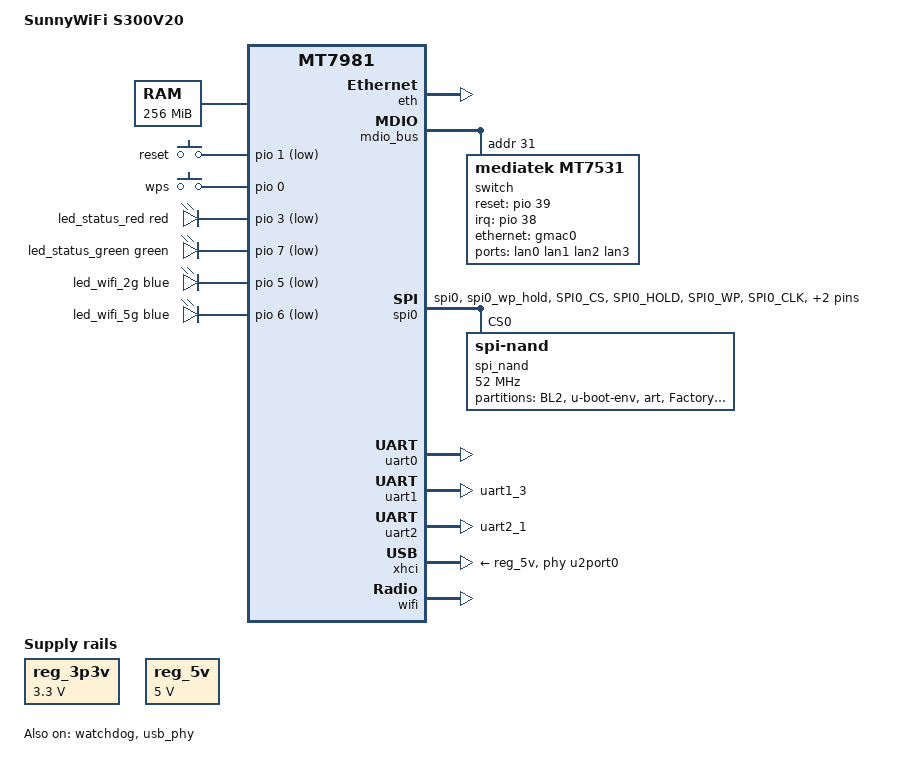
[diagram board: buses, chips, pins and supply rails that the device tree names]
// SPDX-License-Identifier: GPL-2.0-or-later OR MIT

/dts-v1/;
#include <dt-bindings/gpio/gpio.h>
#include <dt-bindings/input/input.h>
#include <dt-bindings/leds/common.h>

#include "mt7981.dtsi"

/ {
	model = "SunnyWiFi S300V20";
	compatible = "sunnywifi,s300v20", "mediatek,mt7981";

	aliases {
		serial0 = &uart0;
		label-mac-device = &gmac0;
		led-boot = &led_status_red;
		led-failsafe = &led_status_red;
		led-running = &led_status_green;
		led-upgrade = &led_status_green;
	};

	chosen {
		stdout-path = "serial0:115200n8";
	};

	memory {
		reg = <0 0x40000000 0 0x10000000>;
	};

	reg_3p3v: regulator-3p3v {
		compatible = "regulator-fixed";
		regulator-name = "fixed-3.3V";
		regulator-min-microvolt = <3300000>;
		regulator-max-microvolt = <3300000>;
		regulator-boot-on;
		regulator-always-on;
	};

	reg_5v: regulator-5v {
		compatible = "regulator-fixed";
		regulator-name = "fixed-5V";
		regulator-min-microvolt = <5000000>;
		regulator-max-microvolt = <5000000>;
		regulator-boot-on;
		regulator-always-on;
	};

	gpio-keys {
		compatible = "gpio-keys";

		reset {
			label = "reset";
			linux,code = <KEY_RESTART>;
			gpios = <&pio 1 GPIO_ACTIVE_LOW>;
		};

		wps {
			label = "wps";
			linux,code = <KEY_WPS_BUTTON>;
			gpios = <&pio 0 GPIO_ACTIVE_HIGH>;
		};
	};

	leds {
		compatible = "gpio-leds";

		led_status_red: led_status_red {
			function = LED_FUNCTION_STATUS;
			color = <LED_COLOR_ID_RED>;
			gpios = <&pio 3 GPIO_ACTIVE_LOW>;
		};

		led_status_green: led_status_green {
			function = LED_FUNCTION_STATUS;
			color = <LED_COLOR_ID_GREEN>;
			gpios = <&pio 7 GPIO_ACTIVE_LOW>;
		};

		led_wifi_2g: led_wifi_2g {
			function = LED_FUNCTION_WLAN;
			color = <LED_COLOR_ID_BLUE>;
			gpios = <&pio 5 GPIO_ACTIVE_LOW>;
		};

		led_wifi_5g: led_wifi_5g {
			function = LED_FUNCTION_WLAN_5GHZ;
			color = <LED_COLOR_ID_BLUE>;
			gpios = <&pio 6 GPIO_ACTIVE_LOW>;
		};
	};
};

&eth {
	status = "okay";

	gmac0: mac@0 {
		/* LAN */
		compatible = "mediatek,eth-mac";
		reg = <0>;
		phy-mode = "2500base-x";

		nvmem-cell-names = "mac-address";
		nvmem-cells = <&macaddr_art_0 0>;

		fixed-link {
			speed = <2500>;
			full-duplex;
			pause;
		};
	};

	gmac1: mac@1 {
		/* WAN */
		compatible = "mediatek,eth-mac";
		reg = <1>;
		phy-mode = "gmii";
		phy-handle = <&int_gbe_phy>;

		nvmem-cell-names = "mac-address";
		nvmem-cells = <&macaddr_art_0 3>;
	};
};

&mdio_bus {
	switch: switch@1f {
		compatible = "mediatek,mt7531";
		reg = <31>;
		reset-gpios = <&pio 39 GPIO_ACTIVE_HIGH>;
		interrupt-controller;
		#interrupt-cells = <1>;
		interrupt-parent = <&pio>;
		interrupts = <38 IRQ_TYPE_LEVEL_HIGH>;
	};
};

&spi0 {
	pinctrl-names = "default";
	pinctrl-0 = <&spi0_flash_pins>;
	status = "okay";

	spi_nand@0 {
		compatible = "spi-nand";
		#address-cells = <1>;
		#size-cells = <1>;
		reg = <0>;

		spi-max-frequency = <52000000>;
		spi-tx-bus-width = <4>;
		spi-rx-bus-width = <4>;

		mediatek,nmbm;
		mediatek,bmt-max-ratio = <1>;
		mediatek,bmt-max-reserved-blocks = <64>;

		partitions {
			compatible = "fixed-partitions";
			#address-cells = <1>;
			#size-cells = <1>;

			partition@0 {
				label = "BL2";
				reg = <0x0000000 0x0100000>;
				read-only;
			};

			partition@100000 {
				label = "u-boot-env";
				reg = <0x0100000 0x0080000>;
			};

			partition@180000 {
				label = "art";
				reg = <0x0180000 0x0100000>;
				read-only;

				nvmem-layout {
					compatible = "fixed-layout";
					#address-cells = <1>;
					#size-cells = <1>;

					macaddr_art_0: macaddr@0 {
						compatible = "mac-base";
						reg = <0x0 0x6>;
						#nvmem-cell-cells = <1>;
					};
				};
			};

			factory: partition@280000 {
				label = "Factory";
				reg = <0x0280000 0x0100000>;
				read-only;
			};

			partition@380000 {
				label = "FIP";
				reg = <0x0380000 0x0200000>;
				read-only;
			};

			partition@580000 {
				label = "ubi";
				reg = <0x0580000 0x6e80000>;
			};

		};
	};
};

&switch {
	ports {
		#address-cells = <1>;
		#size-cells = <0>;

		port@0 {
			reg = <0>;
			label = "lan0";
		};

		port@1 {
			reg = <1>;
			label = "lan1";
		};

		port@2 {
			reg = <2>;
			label = "lan2";
		};

		port@3 {
			reg = <3>;
			label = "lan3";
		};

		port@6 {
			reg = <6>;
			ethernet = <&gmac0>;
			phy-mode = "2500base-x";

			fixed-link {
				speed = <2500>;
				full-duplex;
				pause;
			};
		};
	};
};

&pio {
	uart1_pins: uart1-pins {
		mux {
			function = "uart";
			groups = "uart1_3";
		};
	};

	uart2_pins: uart2-pins {
		mux {
			function = "uart";
			groups = "uart2_1";
		};
	};

	spi0_flash_pins: spi0-pins {
		mux {
			function = "spi";
			groups = "spi0", "spi0_wp_hold";
		};

		conf-pu {
			pins = "SPI0_CS", "SPI0_HOLD", "SPI0_WP";
			drive-strength = <MTK_DRIVE_8mA>;
			bias-pull-up = <MTK_PUPD_SET_R1R0_11>;
		};

		conf-pd {
			pins = "SPI0_CLK", "SPI0_MOSI", "SPI0_MISO";
			drive-strength = <MTK_DRIVE_8mA>;
			bias-pull-down = <MTK_PUPD_SET_R1R0_11>;
		};
	};
};

&uart0 {
	status = "okay";
};

&uart1 {
	pinctrl-names = "default";
	pinctrl-0 = <&uart1_pins>;
	status = "okay";
};

&uart2 {
	pinctrl-names = "default";
	pinctrl-0 = <&uart2_pins>;
	status = "okay";
};

&watchdog {
	status = "okay";
};

&usb_phy {
	status = "okay";
};

&xhci {
	mediatek,u3p-dis-msk = <0x0>;
	phys = <&u2port0 PHY_TYPE_USB2>,
	       <&u3port0 PHY_TYPE_USB3>;
	status = "okay";
	vusb33-supply = <&reg_3p3v>;
	vbus-supply = <&reg_5v>;
};

&wifi {
	status = "okay";

	mediatek,mtd-eeprom = <&factory 0x0>;
};
